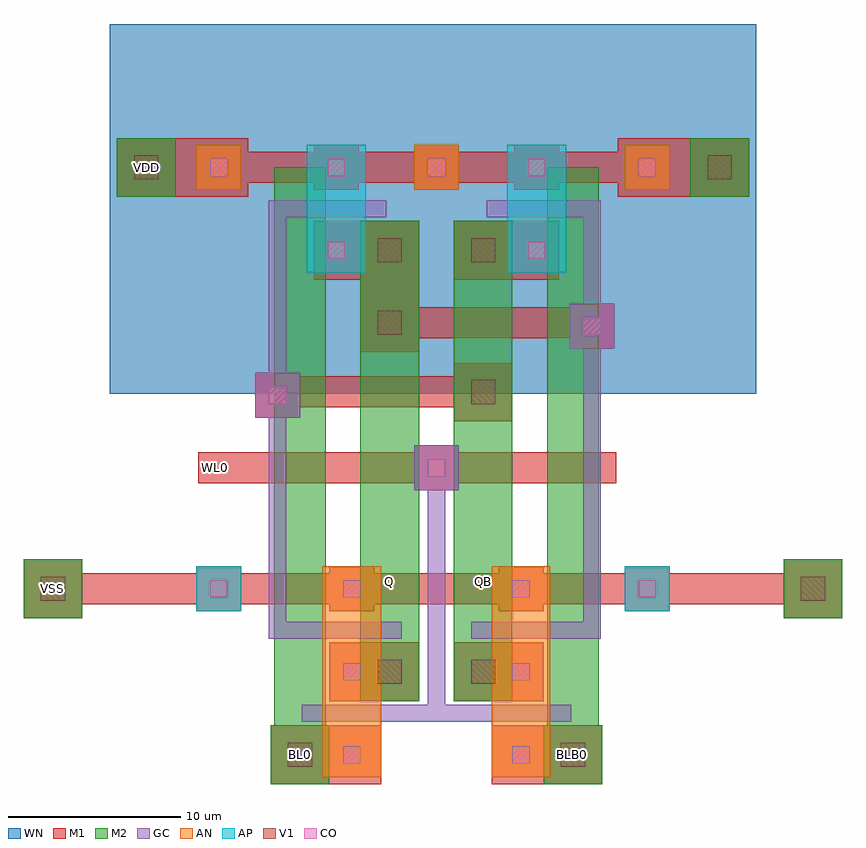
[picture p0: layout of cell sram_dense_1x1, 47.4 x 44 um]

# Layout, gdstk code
import gdstk
lib = gdstk.Library(unit=1e-6, precision=1e-07)
def R(c, l, rs):  # rectangles x0, y0, x1, y1
    for r in rs: c.add(gdstk.rectangle(r[:2], r[2:], *l))
def A(c, l, x, y, w, h, nx, ny, dx, dy):  # array of equal rectangles
    R(c, l, [(x+i*dx, y+j*dy, x+i*dx+w, y+j*dy+h) for i in range(nx) for j in range(ny)])
AP = (3, 1)
AN = (3, 2)
GC = (8, 1)
CO = (11, 0)
M1 = (13, 0)
V1 = (19, 0)
M2 = (20, 0)
WN = (140, 0)

sram_dense = lib.new_cell('sram_dense')
R(sram_dense, AP, [(3.3,27.9,6.7,35.3), (14.9,27.9,18.3,35.3)])
R(sram_dense, AN, [(4.2,-1.3,7.6,10.9), (14,-1.3,17.4,10.9), (9.5,32.7,12.1,35.3)])
R(sram_dense, GC, [(3,1.9,8.8,2.9), (5.4,1.9,16.2,2.9), (10.3,1.9,11.3,17.1), (12.8,1.9,18.6,2.9), (1.1,6.7,6.4,7.7), (1.1,6.7,2.1,32.1), (3,6.7,8.8,7.7), (12.8,6.7,18.6,7.7), (15.2,6.7,20.3,7.7), (19.3,6.7,20.3,32.1), (9.5,15.3,12.1,17.9), (0.3,19.5,2.9,22.1), (18.5,23.5,21.1,26.1), (1.1,31.1,5.5,32.1), (2.1,31.1,7.9,32.1), (13.7,31.1,19.5,32.1), (16.1,31.1,20.3,32.1)])
A(sram_dense, CO, 5.4, -0.5, 1, 1, 1, 3, 0, 4.8)
A(sram_dense, CO, 15.2, -0.5, 1, 1, 1, 3, 0, 4.8)
A(sram_dense, CO, 4.5, 33.5, 1, 1, 3, 1, 5.8, 0)
R(sram_dense, CO, [(10.3,16.1,11.3,17.1), (1.1,20.3,2.1,21.3), (19.3,24.3,20.3,25.3), (4.5,28.7,5.5,29.7), (16.1,28.7,17.1,29.7)])
A(sram_dense, M1, 4.6, -1.3, 2.6, 2.6, 1, 3, 0, 4.8)
A(sram_dense, M1, 14.4, -1.3, 2.6, 2.6, 1, 3, 0, 4.8)
A(sram_dense, M1, 3.7, 32.7, 2.6, 2.6, 3, 1, 5.8, 0)
R(sram_dense, M1, [(1.2,-1.7,7.6,1.7), (1.2,-1.7,4.6,1.7), (14,-1.7,20.4,1.7), (17,-1.7,20.4,1.7), (4.6,3.1,9.4,6.5), (6.4,3.1,9.8,6.5), (11.8,3.1,15.2,6.5), (12.2,3.1,17,6.5), (0,8.7,21.2,10.5), (9.5,15.3,12.1,17.9), (0,15.7,21.2,17.5), (11.8,19.3,15.2,22.7), (0.3,19.5,2.9,22.1), (0.7,20.1,14.4,21.9), (6.4,23.3,9.8,26.7), (6.4,23.3,9.8,30.9), (18.5,23.5,21.1,26.1), (7.2,24.1,20.7,25.9), (3.7,27.5,9.4,30.9), (6.4,27.5,9.8,30.9), (11.8,27.5,15.2,30.9), (12.2,27.5,17.9,30.9), (3.7,27.9,6.3,30.5), (15.3,27.9,17.9,30.5), (0,33.1,21.2,34.9)])
R(sram_dense, V1, [(2.2,-0.7,3.6,0.7), (18,-0.7,19.4,0.7), (7.4,4.1,8.8,5.5), (12.8,4.1,14.2,5.5), (12.8,20.3,14.2,21.7), (7.4,24.3,8.8,25.7), (7.4,28.5,8.8,29.9), (12.8,28.5,14.2,29.9)])
R(sram_dense, M2, [(1.2,-1.7,4.6,1.7), (1.4,-1.7,4.4,34), (17,-1.7,20.4,1.7), (17.2,-1.7,20.2,34), (6.4,3.1,9.8,6.5), (6.4,3.1,9.8,30.9), (11.8,3.1,15.2,6.5), (11.8,3.1,15.2,30.9), (11.8,19.3,15.2,22.7), (6.4,23.3,9.8,26.7), (6.4,27.5,9.8,30.9), (11.8,27.5,15.2,30.9)])
R(sram_dense, WN, [(-3.7,20.9,25.3,42.3)])

sram_dense_1x1 = lib.new_cell('sram_dense_1x1')
R(sram_dense_1x1, AP, [(-3.1,8.3,-0.5,10.9), (21.7,8.3,24.3,10.9)])
R(sram_dense_1x1, AN, [(-3.1,32.7,-0.5,35.3), (21.7,32.7,24.3,35.3)])
R(sram_dense_1x1, CO, [(-2.3,9.1,-1.3,10.1), (22.5,9.1,23.5,10.1), (-2.3,33.5,-1.3,34.5), (22.5,33.5,23.5,34.5)])
R(sram_dense_1x1, M1, [(-13.1,7.9,-9.7,11.3), (30.9,7.9,34.3,11.3), (-3.1,8.3,-0.5,10.9), (21.7,8.3,24.3,10.9), (-12.3,8.7,0.9,10.5), (0,8.7,21.2,10.5), (20.3,8.7,33.5,10.5), (-3,15.7,21.2,17.5), (-7.7,32.3,-0.1,35.7), (-7.7,32.3,-4.3,35.7), (21.3,32.3,28.9,35.7), (25.5,32.3,28.9,35.7), (-3.1,32.7,-0.5,35.3), (21.7,32.7,24.3,35.3), (-2.7,33.1,0.9,34.9), (0,33.1,21.2,34.9), (20.3,33.1,23.9,34.9)])
R(sram_dense_1x1, V1, [(-12.1,8.9,-10.7,10.3), (31.9,8.9,33.3,10.3), (-6.7,33.3,-5.3,34.7), (26.5,33.3,27.9,34.7)])
R(sram_dense_1x1, M2, [(-13.1,7.9,-9.7,11.3), (-12.9,7.9,-9.9,11.3), (30.9,7.9,34.3,11.3), (31.1,7.9,34.1,11.3), (-7.7,32.3,-4.3,35.7), (-7.5,32.3,-4.5,35.7), (25.5,32.3,28.9,35.7), (25.7,32.3,28.7,35.7)])
R(sram_dense_1x1, WN, [(-8.1,20.9,21.2,42.3), (0,20.9,29.3,42.3)])
sram_dense_1x1.add(gdstk.Reference(sram_dense, (0,0)))
sram_dense_1x1.add(gdstk.Label('WL0', (-2,16.6), layer=48, texttype=0))
sram_dense_1x1.add(gdstk.Label('VDD', (-6,34), layer=49, texttype=0))
sram_dense_1x1.add(gdstk.Label('VSS', (-11.4,9.6), layer=49, texttype=0))
sram_dense_1x1.add(gdstk.Label('BL0', (2.9,0), layer=49, texttype=0))
sram_dense_1x1.add(gdstk.Label('BLB0', (18.7,0), layer=49, texttype=0))
sram_dense_1x1.add(gdstk.Label('Q', (8.1,10), layer=49, texttype=0))
sram_dense_1x1.add(gdstk.Label('QB', (13.5,10), layer=49, texttype=0))

lib.write_gds('sram_dense_1x1.gds')
